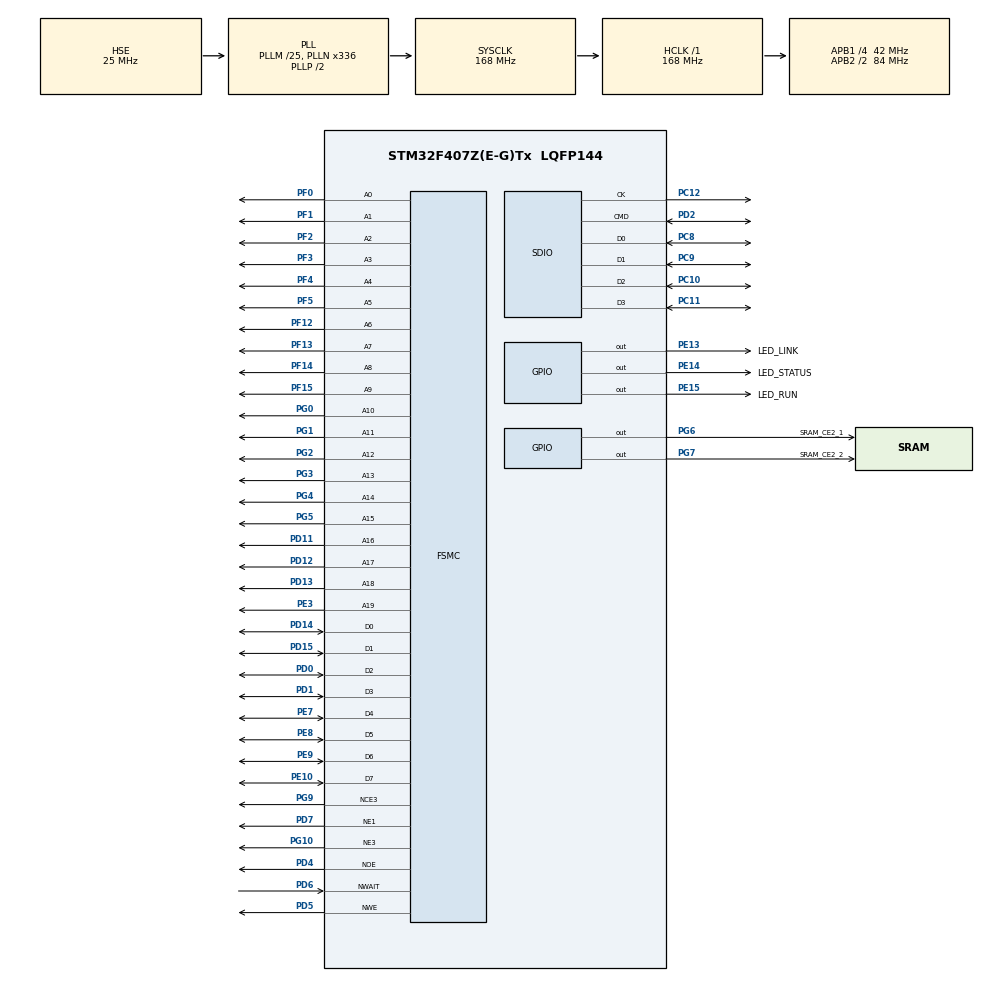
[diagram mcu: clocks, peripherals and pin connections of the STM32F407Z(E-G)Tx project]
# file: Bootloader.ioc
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FATFS.USE_DMA_CODE_SD=0
FATFS._FS_TINY=0
FATFS._MAX_SS=2048
FSMC.AttributeSpaceHiZSetupTime1=0
FSMC.AttributeSpaceHoldSetupTime1=2
FSMC.AttributeSpaceSetupTime1=0
FSMC.AttributeSpaceWaitSetupTime1=2
FSMC.NandBlockNbr1=1024
FSMC.NandBlockSize1=64
FSMC.NandPageSize1=2048
FSMC.NandPlaneNbr1=1
FSMC.NandPlaneSize1=1024
FSMC.NandSpareAreaSize1=125000000
FSMC.WriteOperation1=FSMC_WRITE_OPERATION_ENABLE
FSMC.WriteOperation2=FSMC_WRITE_OPERATION_ENABLE
Mcu.Family=STM32F4
Mcu.Name=STM32F407Z(E-G)Tx
Mcu.Package=LQFP144
NVIC.PriorityGroup=NVIC_PRIORITYGROUP_4
NVIC.TIM1_UP_TIM10_IRQn=true\:0\:0\:false\:false\:true\:false
NVIC.TimeBase=TIM1_UP_TIM10_IRQn
NVIC.TimeBaseIP=TIM1
PA13.Mode=Serial_Wire
PA13.Signal=SYS_JTMS-SWDIO
PA14.Mode=Serial_Wire
PA14.Signal=SYS_JTCK-SWCLK
PC10.Mode=SD_4_bits_Wide_bus
PC10.Signal=SDIO_D2
PC11.Mode=SD_4_bits_Wide_bus
PC11.Signal=SDIO_D3
PC12.Mode=SD_4_bits_Wide_bus
PC12.Signal=SDIO_CK
PC14-OSC32_IN.Mode=LSE-External-Oscillator
PC14-OSC32_IN.Signal=RCC_OSC32_IN
PC15-OSC32_OUT.Mode=LSE-External-Oscillator
PC15-OSC32_OUT.Signal=RCC_OSC32_OUT
PC8.Mode=SD_4_bits_Wide_bus
PC8.Signal=SDIO_D0
PC9.Mode=SD_4_bits_Wide_bus
PC9.Signal=SDIO_D1
PD0.Signal=FSMC_D2_DA2
PD1.Signal=FSMC_D3_DA3
PD11.Signal=FSMC_A16_CLE
PD12.Signal=FSMC_A17_ALE
PD13.Signal=FSMC_A18
PD14.Signal=FSMC_D0_DA0
PD15.Signal=FSMC_D1_DA1
PD2.Mode=SD_4_bits_Wide_bus
PD2.Signal=SDIO_CMD
PD4.Signal=FSMC_NOE
PD5.Signal=FSMC_NWE
PD6.Signal=FSMC_NWAIT
PD7.Mode=NorPsramChipSelect1_1
PD7.Signal=FSMC_NE1
PE10.Signal=FSMC_D7_DA7
PE13.GPIO_Label=LED_LINK
PE13.Signal=GPIO_Output
PE14.GPIO_Label=LED_STATUS
PE14.Signal=GPIO_Output
PE15.GPIO_Label=LED_RUN
PE15.Signal=GPIO_Output
PE3.Signal=FSMC_A19
PE7.Signal=FSMC_D4_DA4
PE8.Signal=FSMC_D5_DA5
PE9.Signal=FSMC_D6_DA6
PF0.Signal=FSMC_A0
PF1.Signal=FSMC_A1
PF12.Signal=FSMC_A6
PF13.Signal=FSMC_A7
PF14.Signal=FSMC_A8
PF15.Signal=FSMC_A9
PF2.Signal=FSMC_A2
PF3.Signal=FSMC_A3
PF4.Signal=FSMC_A4
PF5.Signal=FSMC_A5
PG0.Signal=FSMC_A10
PG1.Signal=FSMC_A11
PG10.Mode=NorPsramChipSelect3_2
PG10.Signal=FSMC_NE3
PG2.Signal=FSMC_A12
PG3.Signal=FSMC_A13
PG4.Signal=FSMC_A14
PG5.Signal=FSMC_A15
PG6.GPIO_Label=SRAM_CE2_1
PG6.GPIO_PuPd=GPIO_PULLDOWN
PG6.Signal=GPIO_Output
PG7.GPIO_Label=SRAM_CE2_2
PG7.GPIO_PuPd=GPIO_PULLDOWN
PG7.Signal=GPIO_Output
PG9.Mode=NandChipSelect3_1
PG9.Signal=FSMC_NCE3
PH0-OSC_IN.Mode=HSE-External-Oscillator
PH0-OSC_IN.Signal=RCC_OSC_IN
PH1-OSC_OUT.Mode=HSE-External-Oscillator
PH1-OSC_OUT.Signal=RCC_OSC_OUT
ProjectManager.HeapSize=0x400
ProjectManager.StackSize=0x400
ProjectManager.TargetToolchain=EWARM
RCC.48MHZClocksFreq_Value=48000000
RCC.AHBFreq_Value=168000000
RCC.APB1CLKDivider=RCC_HCLK_DIV4
RCC.APB1Freq_Value=42000000
RCC.APB1TimFreq_Value=84000000
RCC.APB2CLKDivider=RCC_HCLK_DIV2
RCC.APB2Freq_Value=84000000
RCC.APB2TimFreq_Value=168000000
RCC.CortexFreq_Value=168000000
RCC.HCLKFreq_Value=168000000
RCC.HSE_Timout=200
RCC.HSE_VALUE=25000000
RCC.HSICalibrationValue=16
RCC.HSI_VALUE=16000000
RCC.PLLM=25
RCC.PLLN=336
RCC.PLLQ=7
RCC.PLLSourceVirtual=RCC_PLLSOURCE_HSE
RCC.RCC_MCO1Source=RCC_MCO1SOURCE_PLLCLK
RCC.SYSCLKFreq_VALUE=168000000
RCC.SYSCLKSource=RCC_SYSCLKSOURCE_PLLCLK
RCC.VCOOutputFreq_Value=336000000
SDIO.ClockBypass=SDIO_CLOCK_BYPASS_ENABLE
SDIO.ClockDiv=50
SH.FSMC_A0.0=FSMC_A0,20b-a1
SH.FSMC_A0.1=FSMC_A0,20b-a2
SH.FSMC_A1.0=FSMC_A1,20b-a1
SH.FSMC_A1.1=FSMC_A1,20b-a2
SH.FSMC_A10.0=FSMC_A10,20b-a1
SH.FSMC_A10.1=FSMC_A10,20b-a2
SH.FSMC_A11.0=FSMC_A11,20b-a1
SH.FSMC_A11.1=FSMC_A11,20b-a2
SH.FSMC_A12.0=FSMC_A12,20b-a1
SH.FSMC_A12.1=FSMC_A12,20b-a2
SH.FSMC_A13.0=FSMC_A13,20b-a1
SH.FSMC_A13.1=FSMC_A13,20b-a2
SH.FSMC_A14.0=FSMC_A14,20b-a1
SH.FSMC_A14.1=FSMC_A14,20b-a2
SH.FSMC_A15.0=FSMC_A15,20b-a1
SH.FSMC_A15.1=FSMC_A15,20b-a2
SH.FSMC_A16_CLE.0=FSMC_A16,20b-a1
SH.FSMC_A16_CLE.1=FSMC_A16,20b-a2
SH.FSMC_A16_CLE.2=FSMC_CLE,8b-dmux1
SH.FSMC_A17_ALE.0=FSMC_A17,20b-a1
SH.FSMC_A17_ALE.1=FSMC_A17,20b-a2
SH.FSMC_A17_ALE.2=FSMC_ALE,8b-dmux1
SH.FSMC_A18.0=FSMC_A18,20b-a1
SH.FSMC_A18.1=FSMC_A18,20b-a2
SH.FSMC_A19.0=FSMC_A19,20b-a1
SH.FSMC_A19.1=FSMC_A19,20b-a2
SH.FSMC_A2.0=FSMC_A2,20b-a1
SH.FSMC_A2.1=FSMC_A2,20b-a2
SH.FSMC_A3.0=FSMC_A3,20b-a1
SH.FSMC_A3.1=FSMC_A3,20b-a2
SH.FSMC_A4.0=FSMC_A4,20b-a1
SH.FSMC_A4.1=FSMC_A4,20b-a2
SH.FSMC_A5.0=FSMC_A5,20b-a1
SH.FSMC_A5.1=FSMC_A5,20b-a2
SH.FSMC_A6.0=FSMC_A6,20b-a1
SH.FSMC_A6.1=FSMC_A6,20b-a2
SH.FSMC_A7.0=FSMC_A7,20b-a1
SH.FSMC_A7.1=FSMC_A7,20b-a2
SH.FSMC_A8.0=FSMC_A8,20b-a1
SH.FSMC_A8.1=FSMC_A8,20b-a2
SH.FSMC_A9.0=FSMC_A9,20b-a1
SH.FSMC_A9.1=FSMC_A9,20b-a2
SH.FSMC_D0_DA0.0=FSMC_D0,8b-d1
SH.FSMC_D0_DA0.1=FSMC_D0,8b-d2
SH.FSMC_D0_DA0.2=FSMC_D0,8b-dmux1
SH.FSMC_D1_DA1.0=FSMC_D1,8b-d1
SH.FSMC_D1_DA1.1=FSMC_D1,8b-d2
SH.FSMC_D1_DA1.2=FSMC_D1,8b-dmux1
SH.FSMC_D2_DA2.0=FSMC_D2,8b-d1
SH.FSMC_D2_DA2.1=FSMC_D2,8b-d2
SH.FSMC_D2_DA2.2=FSMC_D2,8b-dmux1
SH.FSMC_D3_DA3.0=FSMC_D3,8b-d1
SH.FSMC_D3_DA3.1=FSMC_D3,8b-d2
SH.FSMC_D3_DA3.2=FSMC_D3,8b-dmux1
SH.FSMC_D4_DA4.0=FSMC_D4,8b-d1
SH.FSMC_D4_DA4.1=FSMC_D4,8b-d2
SH.FSMC_D4_DA4.2=FSMC_D4,8b-dmux1
SH.FSMC_D5_DA5.0=FSMC_D5,8b-d1
SH.FSMC_D5_DA5.1=FSMC_D5,8b-d2
SH.FSMC_D5_DA5.2=FSMC_D5,8b-dmux1
SH.FSMC_D6_DA6.0=FSMC_D6,8b-d1
SH.FSMC_D6_DA6.1=FSMC_D6,8b-d2
SH.FSMC_D6_DA6.2=FSMC_D6,8b-dmux1
SH.FSMC_D7_DA7.0=FSMC_D7,8b-d1
SH.FSMC_D7_DA7.1=FSMC_D7,8b-d2
SH.FSMC_D7_DA7.2=FSMC_D7,8b-dmux1
SH.FSMC_NOE.0=FSMC_NOE,Sram1
SH.FSMC_NOE.1=FSMC_NOE,Sram2
SH.FSMC_NOE.2=FSMC_NOE,8b-dmux1
SH.FSMC_NWAIT.0=FSMC_NWAIT,AsynchronousWait1
SH.FSMC_NWAIT.1=FSMC_NWAIT,AsynchronousWait2
SH.FSMC_NWAIT.2=FSMC_NWAIT,Wait1
SH.FSMC_NWE.0=FSMC_NWE,Sram1
SH.FSMC_NWE.1=FSMC_NWE,Sram2
SH.FSMC_NWE.2=FSMC_NWE,8b-dmux1
VP_CRC_VS_CRC.Mode=CRC_Activate
VP_FATFS_VS_SDIO.Mode=SDIO
VP_SYS_VS_tim1.Mode=TIM1
board=Bootloader

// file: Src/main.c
/**
  ******************************************************************************
  * @file           : main.c
  * @brief          : Main program body
  ******************************************************************************
  * This notice applies to any and all portions of this file
  * that are not between comment pairs USER CODE BEGIN and
  * USER CODE END. Other portions of this file, whether
  * inserted by the user or by software development tools
  * are owned by their respective copyright owners.
  *
  * Copyright (c) 2018 STMicroelectronics International N.V.
  * All rights reserved.
  *
  * Redistribution and use in source and binary forms, with or without
  * modification, are permitted, provided that the following conditions are met:
  *
  * 1. Redistribution of source code must retain the above copyright notice,
  *    this list of conditions and the following disclaimer.
  * 2. Redistributions in binary form must reproduce the above copyright notice,
  *    this list of conditions and the following disclaimer in the documentation
  *    and/or other materials provided with the distribution.
  * 3. Neither the name of STMicroelectronics nor the names of other
  *    contributors to this software may be used to endorse or promote products
  *    derived from this software without specific written permission.
  * 4. This software, including modifications and/or derivative works of this
  *    software, must execute solely and exclusively on microcontroller or
  *    microprocessor devices manufactured by or for STMicroelectronics.
  * 5. Redistribution and use of this software other than as permitted under
  *    this license is void and will automatically terminate your rights under
  *    this license.
  *
  * THIS SOFTWARE IS PROVIDED BY STMICROELECTRONICS AND CONTRIBUTORS "AS IS"
  * AND ANY EXPRESS, IMPLIED OR STATUTORY WARRANTIES, INCLUDING, BUT NOT
  * LIMITED TO, THE IMPLIED WARRANTIES OF MERCHANTABILITY, FITNESS FOR A
  * PARTICULAR PURPOSE AND NON-INFRINGEMENT OF THIRD PARTY INTELLECTUAL PROPERTY
  * RIGHTS ARE DISCLAIMED TO THE FULLEST EXTENT PERMITTED BY LAW. IN NO EVENT
  * SHALL STMICROELECTRONICS OR CONTRIBUTORS BE LIABLE FOR ANY DIRECT, INDIRECT,
  * INCIDENTAL, SPECIAL, EXEMPLARY, OR CONSEQUENTIAL DAMAGES (INCLUDING, BUT NOT
  * LIMITED TO, PROCUREMENT OF SUBSTITUTE GOODS OR SERVICES; LOSS OF USE, DATA,
  * OR PROFITS; OR BUSINESS INTERRUPTION) HOWEVER CAUSED AND ON ANY THEORY OF
  * LIABILITY, WHETHER IN CONTRACT, STRICT LIABILITY, OR TORT (INCLUDING
  * NEGLIGENCE OR OTHERWISE) ARISING IN ANY WAY OUT OF THE USE OF THIS SOFTWARE,
  * EVEN IF ADVISED OF THE POSSIBILITY OF SUCH DAMAGE.
  *
  ******************************************************************************
  */
#include "main.h"
#include "stm32f4xx_hal.h"
#include "fatfs.h"

/* USER CODE BEGIN Includes */

#include "stm32f4xx_hal_flash_ex.h"
#include "stm32f4xx_hal_sd.h"
#include "fatfs.h"
#include "FW_update.h"
#include "deviceDefs.h"
#include "Memory.h"
#include <stdarg.h>
#include "stdbool.h"

uint32_t ApplicationAddress = FW_IMAGE_START_ADDRESS;
uint32_t JumpAddress;
typedef void ( *pFunction )( void );
pFunction Jump_To_Application;

/* USER CODE END Includes */

CRC_HandleTypeDef hcrc;

SD_HandleTypeDef hsd;

SRAM_HandleTypeDef hsram1;
SRAM_HandleTypeDef hsram2;
NAND_HandleTypeDef hnand1;

/* USER CODE BEGIN PV */
/* Private variables ---------------------------------------------------------*/
//#define DEF_INTERNAL_RC               1 //Внутреннея RC
//#define DEF_DEBUG                       1 //Внутреннея RC

/* USER CODE END PV */

void SystemClock_Config(void);
static void MX_GPIO_Init(void);
static void MX_FSMC_Init(void);
static void MX_CRC_Init(void);
static void MX_SDIO_SD_Init(void);

/* USER CODE BEGIN PFP */
/* Private function prototypes -----------------------------------------------*/

/* USER CODE END PFP */

/* USER CODE BEGIN 0 */

FW_metadata_t metadataSD; //FW metadata SD
FW_metadata_t metadataNAND; //FW metadata NAND
DEV_info_t DEV_info; //dev info struct
DEV_Status_t retStat; //Return status

char strBuffer[512];
void debugOut(char *str, ...);
void delay(uint32_t time_delay);
void jump_to_application(); //Jump to main program

/* USER CODE END 0 */

int main(void)
{

  /* MCU Configuration----------------------------------------------------------*/

  /* Reset of all peripherals, Initializes the Flash interface and the Systick. */
  HAL_Init();

  /* Configure the system clock */
  SystemClock_Config();

  /* Initialize all configured peripherals */
  MX_GPIO_Init();
  MX_FSMC_Init();
  MX_CRC_Init();
  MX_SDIO_SD_Init();
  MX_FATFS_Init();

  /* USER CODE BEGIN 2 */

  //LED out
  HAL_GPIO_WritePin(LED_LINK_GPIO_Port, LED_LINK_Pin, GPIO_PIN_SET);
  HAL_GPIO_WritePin(LED_STATUS_GPIO_Port, LED_STATUS_Pin, GPIO_PIN_SET);
  HAL_GPIO_WritePin(LED_RUN_GPIO_Port, LED_RUN_Pin, GPIO_PIN_SET);

  delay(16800000/2);

  //LED out
  HAL_GPIO_WritePin(LED_LINK_GPIO_Port, LED_LINK_Pin, GPIO_PIN_RESET);
  HAL_GPIO_WritePin(LED_STATUS_GPIO_Port, LED_STATUS_Pin, GPIO_PIN_RESET);
  HAL_GPIO_WritePin(LED_RUN_GPIO_Port, LED_RUN_Pin, GPIO_PIN_RESET);

  delay(16800000/2);

  HAL_GPIO_WritePin(LED_LINK_GPIO_Port, LED_LINK_Pin, GPIO_PIN_SET);
  HAL_GPIO_WritePin(LED_STATUS_GPIO_Port, LED_STATUS_Pin, GPIO_PIN_SET);
  HAL_GPIO_WritePin(LED_RUN_GPIO_Port, LED_RUN_Pin, GPIO_PIN_SET);

  //jump_to_application();

  //Init memory
  MEM_init(&hsram1, &hsram2, &hnand1);

  //Check nand
  if (MEM_NAND_checkID() == DEV_OK)
  {
    debugOut("# Nand check OK\r\n");
  }else{
    debugOut("# Nand check ERROR\r\n");
  }

  //Read info data
  if (FW_readInfodata(&DEV_info) != DEV_OK)
  {
    debugOut("@ NAND info read ERROR\r\n");
    jump_to_application();
  }

  //Read card metadata
  retStat = FW_readCardMetadata(&metadataSD);

  //SD card not found
  if (retStat == DEV_NEXIST)
  {
    debugOut("@ SD not inserted\r\n");
  }

  //Metadata SD readed
  if (retStat == DEV_OK)
  {
    //Update FW
    if (metadataSD.FW_cmd == FW_UDATE_FW)
    {
      if (metadataSD.FW_new_ver > DEV_info.SW_version)
      {
        debugOut("@ SD new version SW:%d\r\n", metadataSD.FW_new_ver);
        //SD card update
        if (FW_SDcardUpdate(&metadataSD) != DEV_OK)
          debugOut("@ SD update error\r\n");
        jump_to_application();
      }
    }

    //Force update FW
    if (metadataSD.FW_cmd == FW_REWRITE_FW)
    {
      debugOut("@ SD force update SW:%d\r\n", metadataSD.FW_new_ver);
      //SD card update
      if (FW_SDcardUpdate(&metadataSD) != DEV_OK)
        debugOut("@ SD update error\r\n");
      jump_to_application();
    }
  }

  //Read nand metadata
  if (FW_readNandMetadata(&metadataNAND) == DEV_OK)
  {
    //Update FW
    if (metadataNAND.FW_cmd == FW_UDATE_FW)
    {
      if (metadataNAND.FW_new_ver > DEV_info.SW_version)
      {
        debugOut("@ NAND new version SW:%d\r\n", metadataSD.FW_new_ver);
        //Nand update
        if (FW_nandUpdate(&metadataNAND) != DEV_OK)
          debugOut("@ NAND update error\r\n");
        jump_to_application();
      }
    }

    //Force update FW
    if (metadataNAND.FW_cmd == FW_REWRITE_FW)
    {
      debugOut("@ NAND force update SW:%d\r\n", metadataSD.FW_new_ver);
      //Nand update
      if (FW_nandUpdate(&metadataNAND) != DEV_OK)
        debugOut("@ NAND update error\r\n");
      jump_to_application();
    }

  }

  debugOut("@ Go to start\r\n");

  jump_to_application();

  /* USER CODE END 2 */

  /* Infinite loop */
  while (1)
  {

  }

}

//Jump to main program
void jump_to_application()
{
  delay(16800000);

  //LED out
  HAL_GPIO_WritePin(LED_LINK_GPIO_Port, LED_LINK_Pin, GPIO_PIN_RESET);
  HAL_GPIO_WritePin(LED_STATUS_GPIO_Port, LED_STATUS_Pin, GPIO_PIN_RESET);
  HAL_GPIO_WritePin(LED_RUN_GPIO_Port, LED_RUN_Pin, GPIO_PIN_RESET);

   __disable_irq();//запрещаем прерывания
  JumpAddress = *(__IO uint32_t* )( ApplicationAddress + 4);
  Jump_To_Application = ( pFunction )JumpAddress;
  __set_MSP(*(__IO uint32_t*) ApplicationAddress);

  Jump_To_Application();

}

#ifdef DEF_INTERNAL_RC
void SystemClock_Config(void)
{

  RCC_OscInitTypeDef RCC_OscInitStruct;
  RCC_ClkInitTypeDef RCC_ClkInitStruct;

    /**Configure the main internal regulator output voltage
    */
  __HAL_RCC_PWR_CLK_ENABLE();

  __HAL_PWR_VOLTAGESCALING_CONFIG(PWR_REGULATOR_VOLTAGE_SCALE1);

    /**Initializes the CPU, AHB and APB busses clocks
    */
  RCC_OscInitStruct.OscillatorType = RCC_OSCILLATORTYPE_HSE;
  RCC_OscInitStruct.HSEState = RCC_HSE_ON;
  RCC_OscInitStruct.PLL.PLLState = RCC_PLL_ON;
  RCC_OscInitStruct.PLL.PLLSource = RCC_PLLSOURCE_HSE;
  RCC_OscInitStruct.PLL.PLLM = 25;
  RCC_OscInitStruct.PLL.PLLN = 336;
  RCC_OscInitStruct.PLL.PLLP = RCC_PLLP_DIV2;
  RCC_OscInitStruct.PLL.PLLQ = 7;
  if (HAL_RCC_OscConfig(&RCC_OscInitStruct) != HAL_OK)
  {
    _Error_Handler(__FILE__, __LINE__);
  }

    /**Initializes the CPU, AHB and APB busses clocks
    */
  RCC_ClkInitStruct.ClockType = RCC_CLOCKTYPE_HCLK|RCC_CLOCKTYPE_SYSCLK
                              |RCC_CLOCKTYPE_PCLK1|RCC_CLOCKTYPE_PCLK2;
  RCC_ClkInitStruct.SYSCLKSource = RCC_SYSCLKSOURCE_PLLCLK;
  RCC_ClkInitStruct.AHBCLKDivider = RCC_SYSCLK_DIV1;
  RCC_ClkInitStruct.APB1CLKDivider = RCC_HCLK_DIV4;
  RCC_ClkInitStruct.APB2CLKDivider = RCC_HCLK_DIV2;

  if (HAL_RCC_ClockConfig(&RCC_ClkInitStruct, FLASH_LATENCY_5) != HAL_OK)
  {
    _Error_Handler(__FILE__, __LINE__);
  }

    /**Configure the Systick interrupt time
    */
  HAL_SYSTICK_Config(HAL_RCC_GetHCLKFreq()/1000);

    /**Configure the Systick
    */
  HAL_SYSTICK_CLKSourceConfig(SYSTICK_CLKSOURCE_HCLK);

  /* SysTick_IRQn interrupt configuration */
  HAL_NVIC_SetPriority(SysTick_IRQn, 0, 0);
}

#else

void SystemClock_Config(void)
{

  RCC_OscInitTypeDef RCC_OscInitStruct;
  RCC_ClkInitTypeDef RCC_ClkInitStruct;

    /**Configure the main internal regulator output voltage
    */
  __HAL_RCC_PWR_CLK_ENABLE();

  __HAL_PWR_VOLTAGESCALING_CONFIG(PWR_REGULATOR_VOLTAGE_SCALE1);

    /**Initializes the CPU, AHB and APB busses clocks
    */
  RCC_OscInitStruct.OscillatorType = RCC_OSCILLATORTYPE_HSI;
  RCC_OscInitStruct.HSIState = RCC_HSI_ON;
  RCC_OscInitStruct.HSICalibrationValue = 16;
  RCC_OscInitStruct.PLL.PLLState = RCC_PLL_ON;
  RCC_OscInitStruct.PLL.PLLSource = RCC_PLLSOURCE_HSI;
  RCC_OscInitStruct.PLL.PLLM = 8;
  RCC_OscInitStruct.PLL.PLLN = 168;
  RCC_OscInitStruct.PLL.PLLP = RCC_PLLP_DIV2;
  RCC_OscInitStruct.PLL.PLLQ = 7;
  if (HAL_RCC_OscConfig(&RCC_OscInitStruct) != HAL_OK)
  {
    _Error_Handler(__FILE__, __LINE__);
  }

    /**Initializes the CPU, AHB and APB busses clocks
    */
  RCC_ClkInitStruct.ClockType = RCC_CLOCKTYPE_HCLK|RCC_CLOCKTYPE_SYSCLK
                              |RCC_CLOCKTYPE_PCLK1|RCC_CLOCKTYPE_PCLK2;
  RCC_ClkInitStruct.SYSCLKSource = RCC_SYSCLKSOURCE_PLLCLK;
  RCC_ClkInitStruct.AHBCLKDivider = RCC_SYSCLK_DIV1;
  RCC_ClkInitStruct.APB1CLKDivider = RCC_HCLK_DIV4;
  RCC_ClkInitStruct.APB2CLKDivider = RCC_HCLK_DIV2;

  if (HAL_RCC_ClockConfig(&RCC_ClkInitStruct, FLASH_LATENCY_5) != HAL_OK)
  {
    _Error_Handler(__FILE__, __LINE__);
  }

    /**Configure the Systick interrupt time
    */
  HAL_SYSTICK_Config(HAL_RCC_GetHCLKFreq()/1000);

    /**Configure the Systick
    */
  HAL_SYSTICK_CLKSourceConfig(SYSTICK_CLKSOURCE_HCLK);

  /* SysTick_IRQn interrupt configuration */
  HAL_NVIC_SetPriority(SysTick_IRQn, 0, 0);
}

#endif

/* CRC init function */
static void MX_CRC_Init(void)
{

  hcrc.Instance = CRC;
  if (HAL_CRC_Init(&hcrc) != HAL_OK)
  {
    _Error_Handler(__FILE__, __LINE__);
  }

}

/* SDIO init function */
static void MX_SDIO_SD_Init(void)
{

  hsd.Instance = SDIO;
  hsd.Init.ClockEdge = SDIO_CLOCK_EDGE_RISING;
  hsd.Init.ClockBypass = SDIO_CLOCK_BYPASS_ENABLE;
  hsd.Init.ClockPowerSave = SDIO_CLOCK_POWER_SAVE_DISABLE;
  hsd.Init.BusWide = SDIO_BUS_WIDE_1B;
  hsd.Init.HardwareFlowControl = SDIO_HARDWARE_FLOW_CONTROL_DISABLE;
  hsd.Init.ClockDiv = 50;

}

/** Configure pins as
        * Analog
        * Input
        * Output
        * EVENT_OUT
        * EXTI
*/
static void MX_GPIO_Init(void)
{

  GPIO_InitTypeDef GPIO_InitStruct;

  /* GPIO Ports Clock Enable */
  __HAL_RCC_GPIOE_CLK_ENABLE();
  __HAL_RCC_GPIOC_CLK_ENABLE();
  __HAL_RCC_GPIOF_CLK_ENABLE();
  __HAL_RCC_GPIOH_CLK_ENABLE();
  __HAL_RCC_GPIOG_CLK_ENABLE();
  __HAL_RCC_GPIOD_CLK_ENABLE();
  __HAL_RCC_GPIOA_CLK_ENABLE();

  /*Configure GPIO pin Output Level */
  HAL_GPIO_WritePin(GPIOE, LED_LINK_Pin|LED_STATUS_Pin|LED_RUN_Pin, GPIO_PIN_RESET);

  /*Configure GPIO pin Output Level */
  HAL_GPIO_WritePin(GPIOG, SRAM_CE2_1_Pin|SRAM_CE2_2_Pin, GPIO_PIN_RESET);

  /*Configure GPIO pins : LED_LINK_Pin LED_STATUS_Pin LED_RUN_Pin */
  GPIO_InitStruct.Pin = LED_LINK_Pin|LED_STATUS_Pin|LED_RUN_Pin;
  GPIO_InitStruct.Mode = GPIO_MODE_OUTPUT_PP;
  GPIO_InitStruct.Pull = GPIO_NOPULL;
  GPIO_InitStruct.Speed = GPIO_SPEED_FREQ_LOW;
  HAL_GPIO_Init(GPIOE, &GPIO_InitStruct);

  /*Configure GPIO pins : SRAM_CE2_1_Pin SRAM_CE2_2_Pin */
  GPIO_InitStruct.Pin = SRAM_CE2_1_Pin|SRAM_CE2_2_Pin;
  GPIO_InitStruct.Mode = GPIO_MODE_OUTPUT_PP;
  GPIO_InitStruct.Pull = GPIO_PULLDOWN;
  GPIO_InitStruct.Speed = GPIO_SPEED_FREQ_LOW;
  HAL_GPIO_Init(GPIOG, &GPIO_InitStruct);

}

/* FSMC initialization function */
static void MX_FSMC_Init(void)
{
  FSMC_NORSRAM_TimingTypeDef Timing;
  FSMC_NAND_PCC_TimingTypeDef ComSpaceTiming;
  FSMC_NAND_PCC_TimingTypeDef AttSpaceTiming;

  /** Perform the SRAM1 memory initialization sequence
  */
  hsram1.Instance = FSMC_NORSRAM_DEVICE;
  hsram1.Extended = FSMC_NORSRAM_EXTENDED_DEVICE;
  /* hsram1.Init */
  hsram1.Init.NSBank = FSMC_NORSRAM_BANK1;
  hsram1.Init.DataAddressMux = FSMC_DATA_ADDRESS_MUX_DISABLE;
  hsram1.Init.MemoryType = FSMC_MEMORY_TYPE_SRAM;
  hsram1.Init.MemoryDataWidth = FSMC_NORSRAM_MEM_BUS_WIDTH_8;
  hsram1.Init.BurstAccessMode = FSMC_BURST_ACCESS_MODE_DISABLE;
  hsram1.Init.WaitSignalPolarity = FSMC_WAIT_SIGNAL_POLARITY_LOW;
  hsram1.Init.WrapMode = FSMC_WRAP_MODE_DISABLE;
  hsram1.Init.WaitSignalActive = FSMC_WAIT_TIMING_BEFORE_WS;
  hsram1.Init.WriteOperation = FSMC_WRITE_OPERATION_ENABLE;
  hsram1.Init.WaitSignal = FSMC_WAIT_SIGNAL_DISABLE;
  hsram1.Init.ExtendedMode = FSMC_EXTENDED_MODE_DISABLE;
  hsram1.Init.AsynchronousWait = FSMC_ASYNCHRONOUS_WAIT_ENABLE;
  hsram1.Init.WriteBurst = FSMC_WRITE_BURST_DISABLE;
  hsram1.Init.PageSize = FSMC_PAGE_SIZE_NONE;
  /* Timing */
  Timing.AddressSetupTime = 15;
  Timing.AddressHoldTime = 15;
  Timing.DataSetupTime = 255;
  Timing.BusTurnAroundDuration = 15;
  Timing.CLKDivision = 16;
  Timing.DataLatency = 17;
  Timing.AccessMode = FSMC_ACCESS_MODE_A;
  /* ExtTiming */

  if (HAL_SRAM_Init(&hsram1, &Timing, NULL) != HAL_OK)
  {
    _Error_Handler(__FILE__, __LINE__);
  }

  /** Perform the SRAM2 memory initialization sequence
  */
  hsram2.Instance = FSMC_NORSRAM_DEVICE;
  hsram2.Extended = FSMC_NORSRAM_EXTENDED_DEVICE;
  /* hsram2.Init */
  hsram2.Init.NSBank = FSMC_NORSRAM_BANK3;
  hsram2.Init.DataAddressMux = FSMC_DATA_ADDRESS_MUX_DISABLE;
  hsram2.Init.MemoryType = FSMC_MEMORY_TYPE_SRAM;
  hsram2.Init.MemoryDataWidth = FSMC_NORSRAM_MEM_BUS_WIDTH_8;
  hsram2.Init.BurstAccessMode = FSMC_BURST_ACCESS_MODE_DISABLE;
  hsram2.Init.WaitSignalPolarity = FSMC_WAIT_SIGNAL_POLARITY_LOW;
  hsram2.Init.WrapMode = FSMC_WRAP_MODE_DISABLE;
  hsram2.Init.WaitSignalActive = FSMC_WAIT_TIMING_BEFORE_WS;
  hsram2.Init.WriteOperation = FSMC_WRITE_OPERATION_ENABLE;
  hsram2.Init.WaitSignal = FSMC_WAIT_SIGNAL_DISABLE;
  hsram2.Init.ExtendedMode = FSMC_EXTENDED_MODE_DISABLE;
  hsram2.Init.AsynchronousWait = FSMC_ASYNCHRONOUS_WAIT_ENABLE;
  hsram2.Init.WriteBurst = FSMC_WRITE_BURST_DISABLE;
  hsram2.Init.PageSize = FSMC_PAGE_SIZE_NONE;
  /* Timing */
  Timing.AddressSetupTime = 15;
  Timing.AddressHoldTime = 15;
  Timing.DataSetupTime = 255;
  Timing.BusTurnAroundDuration = 15;
  Timing.CLKDivision = 16;
  Timing.DataLatency = 17;
  Timing.AccessMode = FSMC_ACCESS_MODE_A;
  /* ExtTiming */

  if (HAL_SRAM_Init(&hsram2, &Timing, NULL) != HAL_OK)
  {
    _Error_Handler(__FILE__, __LINE__);
  }

  /** Perform the NAND1 memory initialization sequence
  */
  hnand1.Instance = FSMC_NAND_DEVICE;
  /* hnand1.Init */
  hnand1.Init.NandBank = FSMC_NAND_BANK3;
  hnand1.Init.Waitfeature = FSMC_NAND_PCC_WAIT_FEATURE_ENABLE;
  hnand1.Init.MemoryDataWidth = FSMC_NAND_PCC_MEM_BUS_WIDTH_8;
  hnand1.Init.EccComputation = FSMC_NAND_ECC_DISABLE;
  hnand1.Init.ECCPageSize = FSMC_NAND_ECC_PAGE_SIZE_256BYTE;
  hnand1.Init.TCLRSetupTime = 0;
  hnand1.Init.TARSetupTime = 0;
  /* hnand1.Config */
  hnand1.Config.PageSize = 2048;
  hnand1.Config.SpareAreaSize = 125000000;
  hnand1.Config.BlockSize = 64;
  hnand1.Config.BlockNbr = 1024;
  hnand1.Config.PlaneNbr = 1;
  hnand1.Config.PlaneSize = 1024;
  hnand1.Config.ExtraCommandEnable = DISABLE;
  /* ComSpaceTiming */
  ComSpaceTiming.SetupTime = 252;
  ComSpaceTiming.WaitSetupTime = 252;
  ComSpaceTiming.HoldSetupTime = 252;
  ComSpaceTiming.HiZSetupTime = 252;
  /* AttSpaceTiming */
  AttSpaceTiming.SetupTime = 0;
  AttSpaceTiming.WaitSetupTime = 2;
  AttSpaceTiming.HoldSetupTime = 2;
  AttSpaceTiming.HiZSetupTime = 0;

  if (HAL_NAND_Init(&hnand1, &ComSpaceTiming, &AttSpaceTiming) != HAL_OK)
  {
    _Error_Handler(__FILE__, __LINE__);
  }

}

void HAL_TIM_PeriodElapsedCallback(TIM_HandleTypeDef *htim)
{
  if (htim->Instance == TIM1) {
    HAL_IncTick();
  }
}

void _Error_Handler(char *file, int line)
{
  while(1)
  {
  }
}

/************************ (C) COPYRIGHT STMicroelectronics *****END OF FILE****/

//--------------------------------------------------------------------------------------------------
//Out debug data
//arg: str - string for out
void debugOut(char *str, ...)
{
#ifdef DEF_DEBUG
  va_list args;
  va_start(args, str);
  va_end(args);

  vsprintf(strBuffer, str, args);
  va_end(args);

  if ((CoreDebug->DHCSR & CoreDebug_DHCSR_C_DEBUGEN_Msk) ? true : false)
  {
    //taskENTER_CRITICAL();
    //printf(strBuffer);
    //taskEXIT_CRITICAL();
  }

  va_end(args);
#endif
}

void delay(uint32_t time_delay)
{
    while(time_delay--)
    {
      asm("nop");
    }
}
